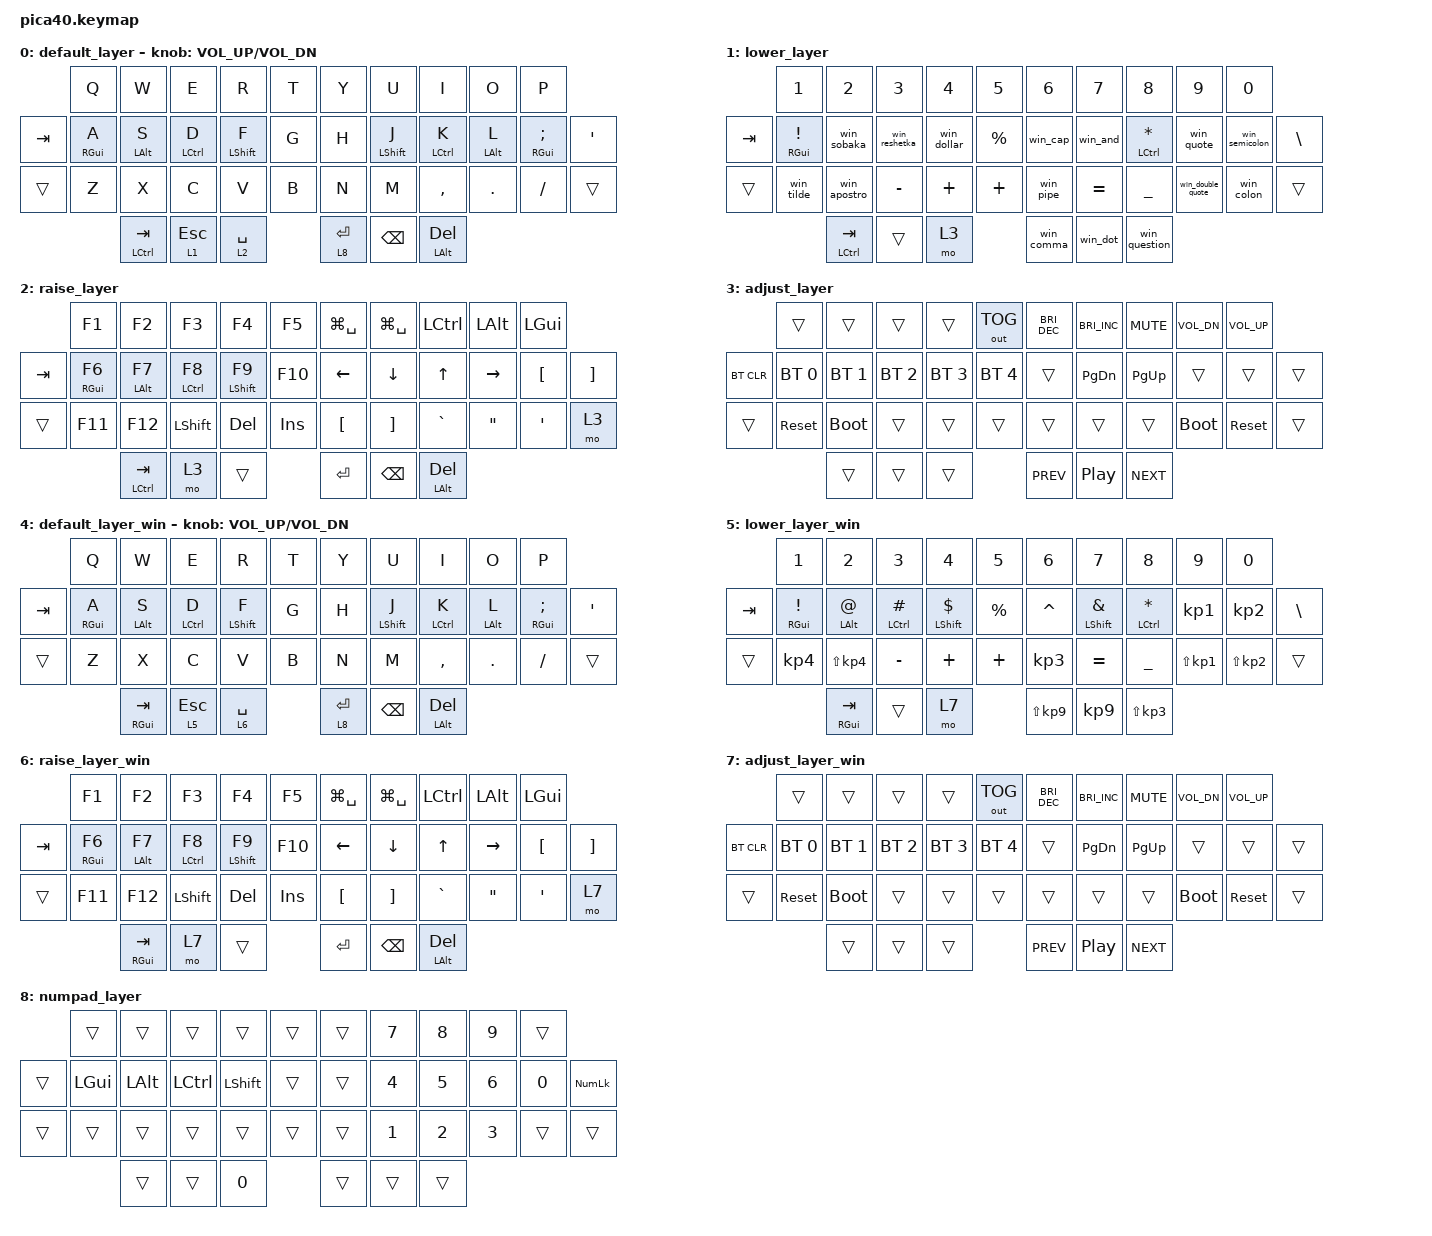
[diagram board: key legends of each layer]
#include <behaviors.dtsi>
#include <dt-bindings/zmk/keys.h>
#include <dt-bindings/zmk/bt.h>
#include <dt-bindings/zmk/outputs.h>

#define QWERTY 0
#define NUMB 1
#define NAVI 2
#define ADJUST 3

#define COMBOTIME 30

#define KEYS_L 0 1 2 3 4 10 11 12 13 14 15 22 23 24 25 26 27  // left-hand keys
#define KEYS_R 5 6 7 8 9 16 17 18 19 20 21 28 29 30 31 32 33  // right-hand keys
#define THUMBS 34 35 36 37 38 39

&lt {
    tapping-term-ms = <150>;
};

&mt {
    tapping-term-ms = <150>;
};


/ {

    behaviors {        
        hm: homerow_mods {
        compatible = "zmk,behavior-hold-tap";
        label = "HOMEROW_MODS";
        #binding-cells = <2>;
        tapping-term-ms = <125>;
        quick_tap_ms = <0>;
        flavor = "tap-preferred";
        bindings = <&kp>, <&kp>;
        };
        hmr: homerow_mods_r {
            compatible = "zmk,behavior-hold-tap";
            #binding-cells = <2>;
            tapping-term-ms = <250>;
            quick-tap-ms = <0>;
            require-prior-idle-ms = <50>;
            flavor = "balanced";
            bindings = <&kp>, <&kp>;
        };
    };


    macros {
        // (
        win_left_parent:  win_left_parent {
            compatible = "zmk,behavior-macro";
            #binding-cells = <0>;
            wait-ms = <20>;
            tap-ms = <20>;
            bindings
                = <&macro_press &kp LALT>
                , <&macro_tap &kp KP_N4 &kp KP_N0 >
                , <&macro_release &kp LALT>
                ;
        };
        // )
        win_right_parent:  win_right_parent {
            compatible = "zmk,behavior-macro";
            #binding-cells = <0>;
            wait-ms = <20>;
            tap-ms = <20>;
            bindings
                = <&macro_press &kp LALT>
                , <&macro_tap &kp KP_N4 &kp KP_N1 >
                , <&macro_release &kp LALT>
                ;
        };
        // {
        win_left_brace:  win_left_brace {
            compatible = "zmk,behavior-macro";
            #binding-cells = <0>;
            wait-ms = <20>;
            tap-ms = <20>;
            bindings
                = <&macro_press &kp LALT>
                , <&macro_tap &kp KP_N1 &kp KP_N2 &kp KP_N3>
                , <&macro_release &kp LALT>
                ;
        };
        // }
        win_right_brace:  win_right_brace {
            compatible = "zmk,behavior-macro";
            #binding-cells = <0>;
            wait-ms = <20>;
            tap-ms = <20>;
            bindings
                = <&macro_press &kp LALT>
                , <&macro_tap &kp KP_N1 &kp KP_N2 &kp KP_N5>
                , <&macro_release &kp LALT>
                ;
        };
        // [
        win_left_bracket:  win_left_bracket {
            compatible = "zmk,behavior-macro";
            #binding-cells = <0>;
            wait-ms = <20>;
            tap-ms = <20>;
            bindings
                = <&macro_press &kp LALT>
                , <&macro_tap &kp KP_N9 &kp KP_N1 >
                , <&macro_release &kp LALT>
                ;
        };
        // ]
        win_right_bracket:  win_right_bracket {
            compatible = "zmk,behavior-macro";
            #binding-cells = <0>;
            wait-ms = <20>;
            tap-ms = <20>;
            bindings
                = <&macro_press &kp LALT>
                , <&macro_tap &kp KP_N9 &kp KP_N3 >
                , <&macro_release &kp LALT>
                ;
        };
        // <
        win_left_triag:  win_left_triag {
            compatible = "zmk,behavior-macro";
            #binding-cells = <0>;
            wait-ms = <20>;
            tap-ms = <20>;
            bindings
                = <&macro_press &kp LALT>
                , <&macro_tap &kp KP_N6 &kp KP_N0 >
                , <&macro_release &kp LALT>
                ;
        };
        // >
        win_right_triag:  win_right_triag {
            compatible = "zmk,behavior-macro";
            #binding-cells = <0>;
            wait-ms = <20>;
            tap-ms = <20>;
            bindings
                = <&macro_press &kp LALT>
                , <&macro_tap &kp KP_N6 &kp KP_N2 >
                , <&macro_release &kp LALT>
                ;
        };
        // /
        win_slash:  win_slash {
            compatible = "zmk,behavior-macro";
            #binding-cells = <0>;
            wait-ms = <20>;
            tap-ms = <20>;
            bindings
                = <&macro_press &kp LALT>
                , <&macro_tap &kp KP_N4 &kp KP_N7 >
                , <&macro_release &kp LALT>
                ;
        };
        // \

        win_back_slash:  win_back_slash {
            compatible = "zmk,behavior-macro";
            #binding-cells = <0>;
            wait-ms = <20>;
            tap-ms = <20>;
            bindings
                = <&macro_press &kp LALT>
                , <&macro_tap &kp KP_N9 &kp KP_N2 >
                , <&macro_release &kp LALT>
                ;
        };
        // @
        win_sobaka:  win_sobaka {
            compatible = "zmk,behavior-macro";
            #binding-cells = <0>;
            wait-ms = <20>;
            tap-ms = <20>;
            bindings
                = <&macro_press &kp LALT>
                , <&macro_tap &kp KP_N6 &kp KP_N4 >
                , <&macro_release &kp LALT>
                ;
        };
        // #
        win_reshetka:  win_reshetka {
            compatible = "zmk,behavior-macro";
            #binding-cells = <0>;
            wait-ms = <20>;
            tap-ms = <20>;
            bindings
                = <&macro_press &kp LALT>
                , <&macro_tap &kp KP_N3 &kp KP_N5 >
                , <&macro_release &kp LALT>
                ;
        };
        // $
        win_dollar:  win_dollar {
            compatible = "zmk,behavior-macro";
            #binding-cells = <0>;
            wait-ms = <20>;
            tap-ms = <20>;
            bindings
                = <&macro_press &kp LALT>
                , <&macro_tap &kp KP_N3 &kp KP_N6 >
                , <&macro_release &kp LALT>
                ;
        };
        // ^
        win_cap:  win_cap {
            compatible = "zmk,behavior-macro";
            #binding-cells = <0>;
            wait-ms = <20>;
            tap-ms = <20>;
            bindings
                = <&macro_press &kp LALT>
                , <&macro_tap &kp KP_N9 &kp KP_N4 >
                , <&macro_release &kp LALT>
                ;
        };
        // &
        win_and:  win_and {
            compatible = "zmk,behavior-macro";
            #binding-cells = <0>;
            wait-ms = <20>;
            tap-ms = <20>;
            bindings
                = <&macro_press &kp LALT>
                , <&macro_tap &kp KP_N3 &kp KP_N8 >
                , <&macro_release &kp LALT>
                ;
        };
        // ~
        win_tilde:  win_tilde {
            compatible = "zmk,behavior-macro";
            #binding-cells = <0>;
            wait-ms = <20>;
            tap-ms = <20>;
            bindings
                = <&macro_press &kp LALT>
                , <&macro_tap &kp KP_N1 &kp KP_N2 &kp KP_N6>
                , <&macro_release &kp LALT>
                ;
        };
        // `
        win_apostro:  win_apostro {
            compatible = "zmk,behavior-macro";
            #binding-cells = <0>;
            wait-ms = <20>;
            tap-ms = <20>;
            bindings
                = <&macro_press &kp LALT>
                , <&macro_tap &kp KP_N9 &kp KP_N6>
                , <&macro_release &kp LALT>
                ;
        };
        // |
        win_pipe:  win_pipe {
            compatible = "zmk,behavior-macro";
            #binding-cells = <0>;
            wait-ms = <20>;
            tap-ms = <20>;
            bindings
                = <&macro_press &kp LALT>
                , <&macro_tap &kp KP_N1 &kp KP_N2 &kp KP_N4>
                , <&macro_release &kp LALT>
                ;
        };
        // '
        win_quote:  win_quote {
            compatible = "zmk,behavior-macro";
            #binding-cells = <0>;
            wait-ms = <20>;
            tap-ms = <20>;
            bindings
                = <&macro_press &kp LALT>
                , <&macro_tap &kp KP_N3 &kp KP_N9 >
                , <&macro_release &kp LALT>
                ;
        };
        // "
        win_double_quote:  win_double_quote {
            compatible = "zmk,behavior-macro";
            #binding-cells = <0>;
            wait-ms = <20>;
            tap-ms = <20>;
            bindings
                = <&macro_press &kp LALT>
                , <&macro_tap &kp KP_N3 &kp KP_N4 >
                , <&macro_release &kp LALT>
                ;
        };
        // ;
        win_semicolon:  win_semicolon {
            compatible = "zmk,behavior-macro";
            #binding-cells = <0>;
            wait-ms = <20>;
            tap-ms = <20>;
            bindings
                = <&macro_press &kp LALT>
                , <&macro_tap &kp KP_N5 &kp KP_N9 >
                , <&macro_release &kp LALT>
                ;
        };
        // :
        win_colon:  win_colon {
            compatible = "zmk,behavior-macro";
            #binding-cells = <0>;
            wait-ms = <20>;
            tap-ms = <20>;
            bindings
                = <&macro_press &kp LALT>
                , <&macro_tap &kp KP_N5 &kp KP_N8 >
                , <&macro_release &kp LALT>
                ;
        };
        // .
        win_dot:  win_dot {
            compatible = "zmk,behavior-macro";
            #binding-cells = <0>;
            wait-ms = <20>;
            tap-ms = <20>;
            bindings
                = <&macro_press &kp LALT>
                , <&macro_tap &kp KP_N4 &kp KP_N6 >
                , <&macro_release &kp LALT>
                ;
        };
        // ,
        win_comma:  win_comma {
            compatible = "zmk,behavior-macro";
            #binding-cells = <0>;
            wait-ms = <20>;
            tap-ms = <20>;
            bindings
                = <&macro_press &kp LALT>
                , <&macro_tap &kp KP_N4 &kp KP_N4 >
                , <&macro_release &kp LALT>
                ;
        };
        // ?
        win_question:  win_question {
            compatible = "zmk,behavior-macro";
            #binding-cells = <0>;
            wait-ms = <20>;
            tap-ms = <20>;
            bindings
                = <&macro_press &kp LALT>
                , <&macro_tap &kp KP_N6 &kp KP_N3 >
                , <&macro_release &kp LALT>
                ;
        };
    };

    combos {
        compatible = "zmk,combos";
        combo_toggle_win_mac {
            timeout-ms = <50>;
            key-positions = <3 4 5 6>;
            bindings = <&tog 4>;
        };
        win_combo_slash {
            timeout-ms = <COMBOTIME>;
            key-positions = <30 31>;
            bindings = <&win_slash>;
            layers = <0>;
        };
        win_combo_backslash {
            timeout-ms = <COMBOTIME>;
            key-positions = <24 25>;
            bindings = <&win_back_slash>;
            layers = <0>;
        };
        mac_combo_slash {
            timeout-ms = <COMBOTIME>;
            key-positions = <30 31>;
            bindings = <&kp KP_N8>;
            layers = <4>;
        };
        mac_combo_backslash {
            timeout-ms = <COMBOTIME>;
            key-positions = <24 25>;
            bindings = <&kp LS(KP_N8)>;
            layers = <4>;
        };
        win_combo_left_triag {
            timeout-ms = <COMBOTIME>;
            key-positions = <12 13>;
            bindings = <&win_left_triag>;
            layers = <0>;
        };
        win_combo_right_triag {
            timeout-ms = <COMBOTIME>;
            key-positions = <18 19>;
            bindings = <&win_right_triag>;
            layers = <0>;
        };
        mac_combo_left_triag {
            timeout-ms = <COMBOTIME>;
            key-positions = <12 13>;
            bindings = <&kp KP_N7>;
            layers = <4>;
        };
        mac_combo_right_triag {
            timeout-ms = <COMBOTIME>;
            key-positions = <18 19>;
            bindings = <&kp LS(KP_N7)>;
            layers = <4>;
        };
        win_combo_left_bracket {
            timeout-ms = <COMBOTIME>;
            key-positions = <25 26>;
            bindings = <&win_left_bracket>;
            layers = <0>;
        };
        win_combo_right_bracket {
            timeout-ms = <COMBOTIME>;
            key-positions = <29 30>;
            bindings = <&win_right_bracket>;
            layers = <0>;
        };
        mac_combo_left_bracket {
            timeout-ms = <COMBOTIME>;
            key-positions = <25 26>;
            bindings = <&kp KP_N5>;
            layers = <4>;
        };
        mac_combo_right_bracket {
            timeout-ms = <COMBOTIME>;
            key-positions = <29 30>;
            bindings = <&kp LS(KP_N5)>;
            layers = <4>;
        };
        win_combo_left_parent {
            timeout-ms = <COMBOTIME>;
            key-positions = <13 14>;
            bindings = <&win_left_parent>;
            layers = <0>;
        };
        win_combo_right_parent {
            timeout-ms = <COMBOTIME>;
            key-positions = <17 18>;
            bindings = <&win_right_parent>;
            layers = <0>;
        };
        mac_combo_left_parent {
            timeout-ms = <COMBOTIME>;
            key-positions = <13 14>;
            bindings = <&kp LPAR>;
            layers = <4>;
        };
        mac_combo_right_parent {
            timeout-ms = <COMBOTIME>;
            key-positions = <17 18>;
            bindings = <&kp RPAR>;
            layers = <4>;
        };
        win_combo_left_brace {
            timeout-ms = <COMBOTIME>;
            key-positions = <2 3>;
            bindings = <&win_left_brace>;
            layers = <0>;
        };
        win_combo_right_brace {
            timeout-ms = <COMBOTIME>;
            key-positions = <6 7>;
            bindings = <&win_right_brace>;
            layers = <0>;
        };
        mac_combo_left_brace {
            timeout-ms = <COMBOTIME>;
            key-positions = <2 3>;
            bindings = <&kp KP_N6>;
            layers = <4>;
        };
        mac_combo_right_brace {
            timeout-ms = <COMBOTIME>;
            key-positions = <6 7>;
            bindings = <&kp LS(KP_N6)>;
            layers = <4>;
        };
    };


        keymap {
                compatible = "zmk,keymap";

                default_layer {
                    
// .--------------------------------------------------------------.       .-----------------------------------------------------------.
// |              |    Q    |    W   |   E    |    R    |    T    |       |   Y   |    U    |    I    |    O    |     P    |          |
// |--------------+---------+--------+--------+---------+---------|       |-------+---------+---------+---------+----------+----------|
// |   CTRL/Tab   |GUI/A    |ALT/S   |CTR/D   |LSHFT/F  |    G    |       |   H   |LSHFT/J  | CTR/K   |ALT/L    | GUI/;    |     '    |
// |--------------+---------+--------+--------+---------+---------|       |-------+---------+---------+---------+----------+----------|
// |              |    Z    |    X   |   C    |    V    |    B    |       |   N   |    M    |    ,    |    .    |     /    |          |
// '---------------------------------+--------+---------+---------+       |-------+---------+---------+-------------------------------'
//                                   | GUI/TAB|MO1/ESC  | MO2/SPC |       |  RET  |   BKSP  | ALT/DEL |
//                                   '--------+---------+---------'       '-------+---------+---------'

                        bindings = <
                  &kp Q       &kp W      &kp E     &kp R           &kp T   &kp Y  &kp U           &kp I        &kp O     &kp P
   &kp TAB  &hm RGUI A       &hm LALT S      &hm LCTRL D     &hm LSHFT F           &kp G   &kp H  &hm LSHFT J           &hm LCTRL K        &hm LALT L     &hm RGUI SEMI   &kp SQT
   &trans      &kp Z       &kp X      &kp C     &kp V           &kp B   &kp N  &kp M           &kp COMMA    &kp DOT   &kp FSLH   &trans 
                  &mt LCTRL TAB   &lt 1 ESC      &lt 2 SPACE              &lt 8 RET       &kp BSPC    &mt LALT DEL
                        >;
                        
                        // sensor-bindings = <&inc_dec_kp LS(LC(LA(L))) LS(LC(LA(H))) &inc_dec_kp LA(L) LA(H)>;
                        sensor-bindings = <&inc_dec_kp C_VOL_UP C_VOL_DN >;
                        // sensor-bindings = <&inc_dec_kp C_VOL_UP C_VOL_DN &inc_dec_kp PG_UP PG_DN>;
                        // sensor-bindings = <&inc_dec_kp RIGHT_ARROW LEFT_ARROW &inc_dec_kp UP_ARROW DOWN_ARROW>;
                };
                
                lower_layer {
// .--------------------------------------------------------------.       .-----------------------------------------------------------.
// |              |    1    |    2   |   3    |    4    |    5    |       |   6   |    7    |    8    |    9    |     0    |          |
// |--------------+---------+--------+--------+---------+---------|       |-------+---------+---------+---------+----------+----------|
// |  CTRL/Tab    |    !    |alt/@   |   #    |    $    |    %    |       |   ^   |    &    |    *    |    (    | GUI/)    |     \    |
// |--------------+---------+--------+--------+---------+---------|       |-------+---------+---------+---------+----------+----------|
// |              |    `    |    +   |   -    |    {    |    [    |       |   ]   |    }    |    =    |    _    |    ~     |          |
// '---------------------------------+--------+---------+---------+       |-------+---------+---------+-------------------------------'
//                                   |GUI/TAB |         |   MO3   |       |  RET  |   BKSP  | ALT/DEL |
//                                   '--------+---------+---------'       '-------+---------+---------'
                        bindings = <
                     &kp N1     &kp N2       &kp N3            &kp N4             &kp N5            &kp N6                   &kp N7                     &kp N8                 &kp N9                   &kp N0
   &kp TAB     &hm RGUI EXCL     &win_sobaka            &win_reshetka           &win_dollar             &kp PRCNT         &win_cap                &win_and                   &hm LCTRL STAR        &win_quote                 &win_semicolon   &kp BSLH
   &trans         &win_tilde       &win_apostro       &kp MINUS       &kp PLUS       &kp PLUS  &win_pipe        &kp EQUAL            &kp UNDERSCORE           &win_double_quote           &win_colon     &trans
                      &mt LCTRL TAB           &trans               &mo 3        &win_comma       &win_dot    &win_question
                        >;
                };
                
                raise_layer {
// .----------------------------------------------------------------.       .-----------------------------------------------------------------.
// |                |   F1  |   F2   |   F3   |    F4    |   F5     |       |         | shft     | cntrl   |  alt    |   gui   |             |
// |----------------+-------+--------+--------+----------+----------|       |---------+----------+---------+---------+----------+-------------|
// |       CTRL/Tab |   F6  |  F7    |  F8    |   F9     |   F10    |       |  LEFT   |   DOWN   |   UP    |  RIGHT  |  [ <х>   |   ] <ъ>     |
// |----------------+-------+--------+--------+----------+----------|       |---------+----------+---------+---------+----------+-------------|
// |                |  F11  |   F12  |  LSHFT |  DEL     | INS      |       |   [ <х> |   ] <ъ>  |  ` <ё>  |   "     |    '     |             |
// '---------------------------------+--------+----------+----------+       |---------+----------+---------+----------------------------------'
//                                   |GUI/TAB |   MO3    |          |       |  RET    |   BKSP   | ALT/DEL |
//                                   '--------+----------+----------'       '---------+----------+---------'

                        bindings = <
                          &kp F1     &kp F2     &kp F3       &kp F4       &kp F5            &kp LG(SPACE)               &kp LG(SPACE)           &kp LCTRL       &kp LALT      &kp LGUI
   &kp TAB          &hm RGUI F6     &hm LALT F7     &hm LCTRL F8       &hm LSHFT F9       &kp F10           &kp LEFT_ARROW       &kp DOWN_ARROW          &kp UP_ARROW     &kp RIGHT_ARROW    &kp LEFT_BRACKET      &kp RIGHT_BRACKET
   &trans              &kp F11    &kp F12    &kp LSHFT       &kp DEL       &kp INS            &kp LEFT_BRACKET   &kp RIGHT_BRACKET     &kp GRAVE             &kp DOUBLE_QUOTES             &kp APOS       &mo 3
                                     &mt LCTRL TAB   &mo 3   &trans                    &kp RET       &kp BSPC    &mt LALT DEL
                        >;
                };

                adjust_layer {
// .--------------------------------------------------------.       .--------------------------------------------------------------.
// |         |        |        |        |         |OUT_TOG  |       |BRI_DEC |BRI_INC |  MUTE   |   VOL-  |   VOL+   |             |
// |---------+--------+--------+--------+---------+---------|       |--------+--------+---------+---------+----------+-------------|
// |  BTCLR  |  BT1   |  BT2   |  BT3   |  BT4    |  BT5    |       |        |page_down |page_up|         |          |             |
// |---------+--------+--------+--------+---------+---------|       |--------+--------+---------+---------+----------+-------------|
// |         |reset   |bootload|        |         |         |       |        |        |         |bootload | reset    |             |
// '---------------------------+--------+---------+---------+       |--------+--------+---------+----------------------------------'
//                             |        |         |         |       |  PREV  |  PLAY  |  NEXT   |
//                             '--------+---------+---------'       '--------+--------+---------'

                        bindings = <
               &trans          &trans         &trans          &trans          &out OUT_TOG            &kp C_BRI_DEC &kp C_BRI_INC &kp C_MUTE &kp C_VOL_DN &kp C_VOL_UP
   &bt BT_CLR  &bt BT_SEL 0    &bt BT_SEL 1   &bt BT_SEL 2    &bt BT_SEL 3    &bt BT_SEL 4      &trans &kp PAGE_DOWN &kp PAGE_UP &trans &trans &trans
   &trans      &sys_reset     &bootloader         &trans          &trans          &trans            &trans &trans &trans &bootloader &sys_reset &trans
                                   &trans &trans &trans                                         &kp C_PREV &kp C_PP &kp C_NEXT
                        >;
                };






                // windows layers







                default_layer_win {
                    
// .--------------------------------------------------------------.       .-----------------------------------------------------------.
// |              |    Q    |    W   |   E    |    R    |    T    |       |   Y   |    U    |    I    |    O    |     P    |          |
// |--------------+---------+--------+--------+---------+---------|       |-------+---------+---------+---------+----------+----------|
// |   GUI/Tab    |GUI/A    |ALT/S   |CTR/D   |LSHFT/F  |    G    |       |   H   |LSHFT/J  | CTR/K   |ALT/L    | GUI/;    |     '    |
// |--------------+---------+--------+--------+---------+---------|       |-------+---------+---------+---------+----------+----------|
// |              |    Z    |    X   |   C    |    V    |    B    |       |   N   |    M    |    ,    |    .    |     /    |          |
// '---------------------------------+--------+---------+---------+       |-------+---------+---------+-------------------------------'
//                                   |CTRL/TAB|MO1/ESC  | MO2/SPC |       |  RET  |   BKSP  | ALT/DEL |
//                                   '--------+---------+---------'       '-------+---------+---------'

                        bindings = <
                  &kp Q       &kp W      &kp E     &kp R           &kp T   &kp Y  &kp U           &kp I        &kp O     &kp P
   &kp TAB  &hm RGUI A       &hm LALT S      &hm LCTRL D     &hm LSHFT F           &kp G   &kp H  &hm LSHFT J           &hm LCTRL K        &hm LALT L     &hm RGUI SEMI   &kp SQT
   &trans      &kp Z       &kp X      &kp C     &kp V           &kp B   &kp N  &kp M           &kp COMMA    &kp DOT   &kp FSLH   &trans
                  &mt RGUI TAB    &lt 5 ESC      &lt 6 SPACE              &lt 8 RET       &kp BSPC    &mt LALT DEL
                        >;
                        
                        // sensor-bindings = <&inc_dec_kp LS(LC(LA(L))) LS(LC(LA(H))) &inc_dec_kp LA(L) LA(H)>;
                        sensor-bindings = <&inc_dec_kp C_VOL_UP C_VOL_DN >;
                        // sensor-bindings = <&inc_dec_kp C_VOL_UP C_VOL_DN &inc_dec_kp PG_UP PG_DN>;
                        // sensor-bindings = <&inc_dec_kp RIGHT_ARROW LEFT_ARROW &inc_dec_kp UP_ARROW DOWN_ARROW>;
                };
                
                lower_layer_win {
// .--------------------------------------------------------------.       .-----------------------------------------------------------.
// |              |    1    |    2   |   3    |    4    |    5    |       |   6   |    7    |    8    |    9    |     0    |          |
// |--------------+---------+--------+--------+---------+---------|       |-------+---------+---------+---------+----------+----------|
// |  GUI/Tab     |    !    |alt/@   |   #    |    $    |    %    |       |   ^   |    &    |    *    |    (    | GUI/)    |     \    |
// |--------------+---------+--------+--------+---------+---------|       |-------+---------+---------+---------+----------+----------|
// |              |    `    |    +   |   -    |    {    |    [    |       |   ]   |    }    |    =    |    _    |    ~     |          |
// '---------------------------------+--------+---------+---------+       |-------+---------+---------+-------------------------------'
//                                   |CTRL/TAB|         |   MO3   |       |  RET  |   BKSP  | ALT/DEL |
//                                   '--------+---------+---------'       '-------+---------+---------'
                        bindings = <
                     &kp N1     &kp N2       &kp N3            &kp N4             &kp N5            &kp N6                   &kp N7                     &kp N8                 &kp N9                   &kp N0
   &kp TAB     &hm RGUI EXCL     &hm LALT AT            &hm LCTRL HASH           &hm LSHFT DLLR             &kp PRCNT         &kp CARET                &hm LSHFT AMPS                   &hm LCTRL STAR        &kp KP_N1           &kp KP_N2   &kp BSLH
   &trans         &kp KP_N4       &kp LS(KP_N4)       &kp MINUS       &kp PLUS       &kp PLUS          &kp KP_N3        &kp EQUAL            &kp UNDERSCORE       &kp LS(KP_N1)           &kp LS(KP_N2)     &trans
                                             &mt RGUI TAB           &trans               &mo 7        &kp LS(KP_N9)       &kp KP_N9    &kp LS(KP_N3)
                        >;
                };
                
                raise_layer_win {
// .----------------------------------------------------------------.       .-----------------------------------------------------------------.
// |                |   F1  |   F2   |   F3   |    F4    |   F5     |       |         | shft     | cntrl   |  alt    |   gui   |             |
// |----------------+-------+--------+--------+----------+----------|       |---------+----------+---------+---------+----------+-------------|
// |       CTRL/Tab |   F6  |  F7    |  F8    |   F9     |   F10    |       |  LEFT   |   DOWN   |   UP    |  RIGHT  |  [ <х>   |   ] <ъ>     |
// |----------------+-------+--------+--------+----------+----------|       |---------+----------+---------+---------+----------+-------------|
// |                |  F11  |   F12  |  LSHFT |  DEL     | INS      |       |   [ <х> |   ] <ъ>  |  ` <ё>  |   "     |    '     |             |
// '---------------------------------+--------+----------+----------+       |---------+----------+---------+----------------------------------'
//                                   |GUI/TAB |   MO3    |          |       |  RET    |   BKSP   | ALT/DEL |
//                                   '--------+----------+----------'       '---------+----------+---------'

                        bindings = <
                          &kp F1     &kp F2     &kp F3       &kp F4       &kp F5            &kp LG(SPACE)               &kp LG(SPACE)           &kp LCTRL       &kp LALT      &kp LGUI
   &kp TAB          &hm RGUI F6     &hm LALT F7     &hm LCTRL F8       &hm LSHFT F9       &kp F10           &kp LEFT_ARROW       &kp DOWN_ARROW          &kp UP_ARROW     &kp RIGHT_ARROW    &kp LEFT_BRACKET      &kp RIGHT_BRACKET
   &trans              &kp F11    &kp F12    &kp LSHFT       &kp DEL       &kp INS            &kp LEFT_BRACKET   &kp RIGHT_BRACKET     &kp GRAVE           &kp DOUBLE_QUOTES             &kp APOS       &mo 7
                                     &mt RGUI TAB   &mo 7   &trans                    &kp RET       &kp BSPC    &mt LALT DEL
                        >;
                };

                adjust_layer_win {
// .--------------------------------------------------------.       .--------------------------------------------------------------.
// |         |        |        |        |         |OUT_TOG  |       |BRI_DEC |BRI_INC |  MUTE   |   VOL-  |   VOL+   |             |
// |---------+--------+--------+--------+---------+---------|       |--------+--------+---------+---------+----------+-------------|
// |  BTCLR  |  BT1   |  BT2   |  BT3   |  BT4    |  BT5    |       |        |page_down |page_up|         |          |             |
// |---------+--------+--------+--------+---------+---------|       |--------+--------+---------+---------+----------+-------------|
// |         |reset   |bootload|        |         |         |       |        |        |         |bootload | reset    |             |
// '---------------------------+--------+---------+---------+       |--------+--------+---------+----------------------------------'
//                             |        |         |         |       |  PREV  |  PLAY  |  NEXT   |
//                             '--------+---------+---------'       '--------+--------+---------'

                        bindings = <
               &trans          &trans         &trans          &trans          &out OUT_TOG            &kp C_BRI_DEC &kp C_BRI_INC &kp C_MUTE &kp C_VOL_DN &kp C_VOL_UP
   &bt BT_CLR  &bt BT_SEL 0    &bt BT_SEL 1   &bt BT_SEL 2    &bt BT_SEL 3    &bt BT_SEL 4      &trans &kp PAGE_DOWN &kp PAGE_UP &trans &trans &trans
   &trans      &sys_reset     &bootloader         &trans          &trans          &trans            &trans &trans &trans &bootloader &sys_reset &trans
                                   &trans &trans &trans                                         &kp C_PREV &kp C_PP &kp C_NEXT
                        >;
                };

                numpad_layer {
                        bindings = <
                     &trans          &trans         &trans          &trans &trans          &trans             &kp N7          &kp N8   &kp N9          &trans
    &trans           &kp LGUI          &kp LALT         &kp LCTRL          &kp LSHFT       &trans &trans      &kp N4          &kp N5   &kp N6          &kp N0              &kp KP_NUMLOCK
    &trans           &trans          &trans         &trans          &trans &trans          &trans             &kp N1          &kp N2   &kp N3          &trans       &trans
                                   &trans &trans &kp N0                                         &trans &trans &trans

                        >;

                };

        };
};
